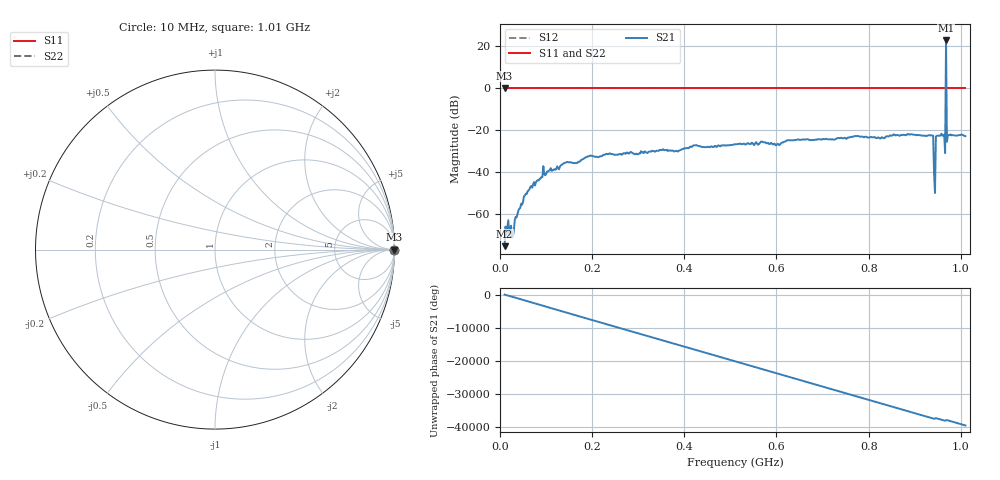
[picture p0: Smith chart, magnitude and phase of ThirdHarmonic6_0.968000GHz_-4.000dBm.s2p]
! 8/16/2025 7:17:18 AM
! C:\ANRITSUVNA\TEMP\TEMP.S2P
! CHANNEL.1
! TR.MEASUREMENT
! RAW.DATA
! RF.CORRECTION.OFF
! AVERAGING.OFF
! IF.BANDWIDTH: 5KHZ
! SWEEPTYPE:  FREQ.SWEEP(Linear)
! Reference Plane Port Info
! PORT:  PORT1  PORT2
! DISTANCE:  0  m  0  m
! TIME:  0  s  0  s
! PHASE.OFFSET:  0  deg.  0  deg.
! LOSS:  0  dB  0  dB
! REF.LOSS:  0  dB  0  dB
! REF.FREQ:  0  Hz  0  Hz
! Power Info
! POWER:  -20  dBm  -20  dBm
! EFF.POWER:  -20  dBm  -20  dBm
! SOURCE.ATTEN:  0  dB  0  dB
! TEST.ATTEN:  0  dB  0  dB
# GHZ S RI R 50.0
! FREQ.GHZ  S11RE  S11IM  S21RE  S21IM  S12RE  S12IM  S22RE  S22IM
!; PortSelection: Port_12
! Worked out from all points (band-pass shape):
!   501 points, 10 MHz to 1.01 GHz, reference 50 ohm
!   highest |S21| = 22.67 dB at 968 MHz (marker M1); lowest = -75.4 dB at 10 MHz (marker M2)
!   |S21| within 3 dB of the highest: 967.8883 MHz to 968.1242 MHz (235.9 kHz wide, 0.0244 % of centre)
!   lowest |S11| = 0.0 dB at 10 MHz (marker M3)
!   |S11| at or under -10 dB: nowhere
!   |S22| runs from 0.0 to 0.0 dB; largest |S21 - S12| = 13
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0.01  1 0  -0.000165 3.5e-05  1 0  1 0
0.016  1 0  0.000425 -0.000232  1 0  1 0
0.03  1 0  6.72e-05 0.000389  1 0  1 0
0.036  1 0  -0.000794 -0.000202  1 0  1 0
0.056  1 0  -0.00184 0.00237  1 0  1 0
0.092  1 0  0.00151 0.00736  1 0  1 0
0.178  1 0  -0.0188 -0.00531  1 0  1 0
0.344  1 0  0.0312 -0.0041  1 0  1 0
0.51  1 0  -0.0439 0.011  1 0  1 0
0.678  1 0  -0.0176 -0.0541  1 0  1 0
0.844  1 0  0.0375 0.0593  1 0  1 0
0.936  1 0  0.045 -0.0595  1 0  1 0
0.94  1 0  -0.0611 0.0393  1 0  1 0
0.944  1 0  -0.00249 0.0019  1 0  1 0
0.946  1 0  -0.00581 -0.0697  1 0  1 0
0.95  1 0  -0.02 0.0702  1 0  1 0
0.962  1 0  0.0716 -0.0194  1 0  1 0
0.964  1 0  -0.00846 -0.0767  1 0  1 0
0.968  1 0  13.55 -1.225  1 0  1 0
0.972  1 0  0.0388 -0.0637  1 0  1 0
0.974  1 0  -0.0582 -0.0485  1 0  1 0
1.01  1 0  -0.0621 -0.0343  1 0  1 0
